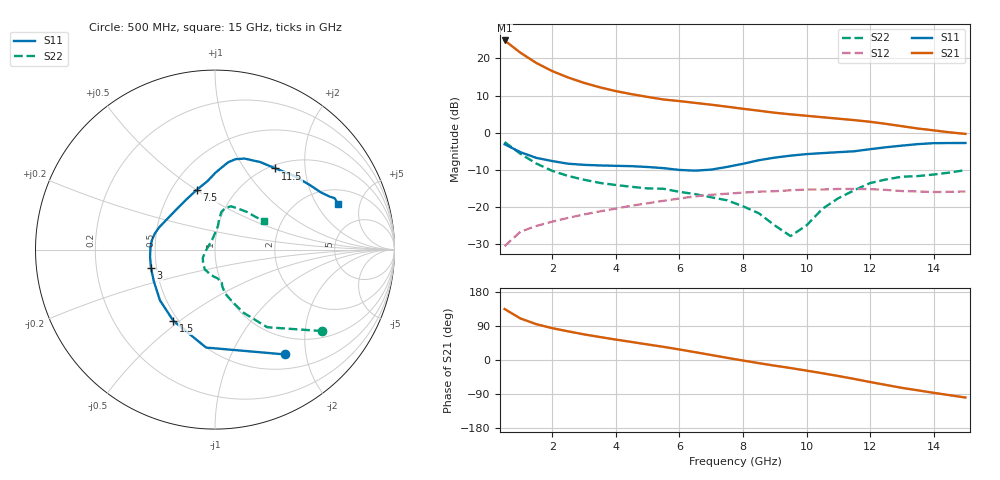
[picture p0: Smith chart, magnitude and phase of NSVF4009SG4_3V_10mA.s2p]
! onsemi NSVF4009SG4, common emitter, VCE = 3 V, IC = 10 mA: S-parameters from the data sheet NSVF4009SG4/D
! (Rev. 1, March 2024), values as printed there (500 MHz to 15 GHz)
# MHz S MA R 50
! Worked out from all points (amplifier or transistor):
!   30 points, 500 MHz to 15 GHz, reference 50 ohm
!   highest |S21| = 24.8 dB at 500 MHz (marker M1)
!   |S21| within 3 dB of that: start of sweep to 953.7 MHz
!   unconditionally stable (mu >= 1): 2.13 GHz to end of sweep
!   at 3 GHz: K = 1.19, MAG = 15.0 dB, |S12| = -21.9 dB
!   at 8 GHz: K = 1.42, MAG = 7.4 dB, |S12| = -16.1 dB
!   at 15 GHz: K = 1.61, MAG = 3.1 dB, |S12| = -15.8 dB
!   S11 on the Smith chart (normalised r, x): 500 MHz: 0.71, -1.64; 1.5 GHz: 0.47, -0.47; 3 GHz: 0.47, -0.11; 7.5 GHz: 0.66, +0.50; 11.5 GHz: 1.06, +1.40; 15 GHz: 2.83, +3.08
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500  0.702 -56.3  17.37 134.5  0.03 64.1  0.751 -37.2
1000  0.548 -95.2  11.87 109.5  0.047 51.6  0.521 -56.1
1500  0.46 -120.2  8.647 94.5  0.056 47.3  0.386 -65.7
2000  0.417 -137.4  6.729 84.0  0.064 45.7  0.308 -71.4
2500  0.384 -152.5  5.523 75.6  0.072 44.9  0.263 -75.7
3000  0.371 -164.2  4.678 67.6  0.08 43.7  0.234 -77.6
3500  0.364 -173.8  4.075 60.6  0.088 42.4  0.212 -78.7
4000  0.36 178.4  3.626 53.9  0.096 40.8  0.199 -78.7
4500  0.356 171.7  3.298 47.5  0.105 38.7  0.188 -78.3
5500  0.335 158.3  2.799 34.7  0.122 33.1  0.177 -80.7
6500  0.31 135.5  2.518 20.6  0.14 25.5  0.15 -93.0
7500  0.348 107.1  2.239 5.8  0.152 16.0  0.124 -117.2
8000  0.383 96.4  2.101 -1.4  0.157 11.5  0.103 -129.8
8500  0.428 89.7  1.978 -8.3  0.162 7.0  0.083 -145.3
9500  0.493 81.3  1.769 -21.2  0.169 -1.5  0.041 153.8
10000  0.517 77.1  1.691 -28.0  0.173 -6.9  0.057 106.2
10500  0.533 72.1  1.616 -35.0  0.173 -12.3  0.095 88.8
11500  0.564 53.3  1.479 -49.9  0.176 -24.3  0.169 82.2
12000  0.602 43.2  1.405 -58.1  0.175 -31.1  0.211 80.5
13000  0.672 28.2  1.226 -73.5  0.165 -42.7  0.257 69.9
14000  0.725 23.3  1.078 -86.6  0.16 -52.4  0.275 49.6
15000  0.729 20.5  0.966 -99.0  0.163 -63.4  0.315 30.9
